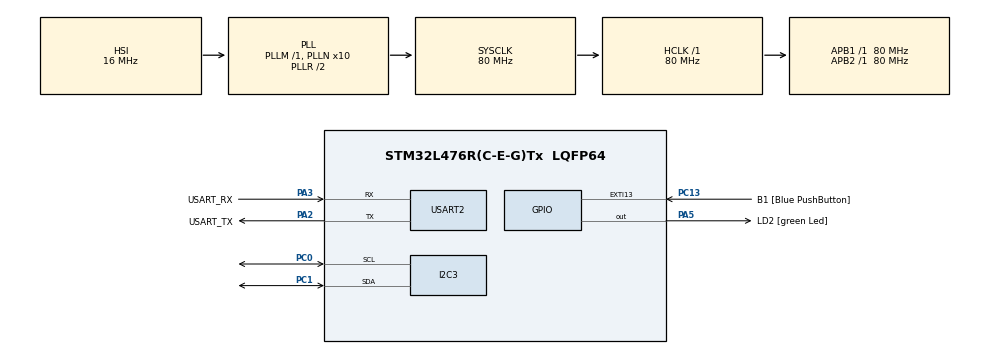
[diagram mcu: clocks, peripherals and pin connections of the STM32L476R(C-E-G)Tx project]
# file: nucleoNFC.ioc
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Mcu.Family=STM32L4
RCC.MSI_VALUE=4000000
RCC.PLLSourceVirtual=RCC_PLLSOURCE_HSI
PA14\ (JTCK-SWCLK).Mode=Serial_Wire
PA2.GPIO_PuPd=GPIO_NOPULL
RCC.CortexFreq_Value=80000000
PH0-OSC_IN\ (PH0).Signal=RCC_OSC_IN
PC13.Signal=GPXTI13
PA3.GPIO_PuPd=GPIO_NOPULL
PA2.GPIO_Speed=GPIO_SPEED_FREQ_VERY_HIGH
PC15-OSC32_OUT\ (PC15).Signal=RCC_OSC32_OUT
PC15-OSC32_OUT\ (PC15).Mode=LSE-External-Oscillator
PA14\ (JTCK-SWCLK).GPIO_Label=TCK
PB3\ (JTDO-TRACESWO).GPIO_Label=SWO
PC13.GPIO_Label=B1 [Blue PushButton]
PC0.Signal=I2C3_SCL
PA3.GPIO_Speed=GPIO_SPEED_FREQ_VERY_HIGH
PH1-OSC_OUT\ (PH1).Signal=RCC_OSC_OUT
RCC.SYSCLKSource=RCC_SYSCLKSOURCE_PLLCLK
ProjectManager.StackSize=0x400
PB3\ (JTDO-TRACESWO).Signal=SYS_JTDO-SWO
PC0.Mode=I2C
PC14-OSC32_IN\ (PC14).Mode=LSE-External-Oscillator
PA14\ (JTCK-SWCLK).Signal=SYS_JTCK-SWCLK
PA3.Mode=Asynchronous
ProjectManager.TargetToolchain=STM32CubeIDE
PA3.GPIO_Mode=GPIO_MODE_AF_PP
RCC.HCLKFreq_Value=80000000
RCC.APB2TimFreq_Value=80000000
RCC.USBFreq_Value=64000000
RCC.AHBFreq_Value=80000000
RCC.PREFETCH_ENABLE=1
PA5.Signal=GPIO_Output
RCC.HSE_VALUE=8000000
board=NUCLEO-L476RG
USART2.VirtualMode-Asynchronous=VM_ASYNC
RCC.VCOOutputFreq_Value=160000000
RCC.APB2Freq_Value=80000000
PA5.GPIO_ModeDefaultOutputPP=GPIO_MODE_OUTPUT_PP
PA13\ (JTMS-SWDIO).GPIO_Label=TMS
PA5.GPIO_PuPd=GPIO_NOPULL
RCC.ADCFreq_Value=64000000
PC13.GPIO_PuPd=GPIO_NOPULL
Mcu.Name=STM32L476R(C-E-G)Tx
PA2.Signal=USART2_TX
PA13\ (JTMS-SWDIO).Mode=Serial_Wire
RCC.SYSCLKFreq_VALUE=80000000
Mcu.Package=LQFP64
PA5.GPIO_Label=LD2 [green Led]
PC13.GPIO_ModeDefaultEXTI=GPIO_MODE_IT_FALLING
PC14-OSC32_IN\ (PC14).Signal=RCC_OSC32_IN
PA2.GPIO_Label=USART_TX
ProjectManager.HeapSize=0x200
RCC.HSI_VALUE=16000000
PA5.GPIO_Speed=GPIO_SPEED_FREQ_LOW
NVIC.PriorityGroup=NVIC_PRIORITYGROUP_4
I2C3.Timing=0x10909CEC
RCC.PLLN=10
RCC.APB1TimFreq_Value=80000000
PA2.Mode=Asynchronous
PA13\ (JTMS-SWDIO).Signal=SYS_JTMS-SWDIO
RCC.APB1Freq_Value=80000000
PC1.Signal=I2C3_SDA
PC1.Mode=I2C
PA3.GPIO_Label=USART_RX
PA3.Signal=USART2_RX
PA2.GPIO_Mode=GPIO_MODE_AF_PP

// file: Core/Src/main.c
/* USER CODE BEGIN Header */
/**
  ******************************************************************************
  * @file           : main.c
  * @brief          : Main program body
  ******************************************************************************
  * @attention
  *
  * <h2><center>&copy; Copyright (c) 2021 STMicroelectronics.
  * All rights reserved.</center></h2>
  *
  * This software component is licensed by ST under BSD 3-Clause license,
  * the "License"; You may not use this file except in compliance with the
  * License. You may obtain a copy of the License at:
  *                        opensource.org/licenses/BSD-3-Clause
  *
  ******************************************************************************
  */
/* USER CODE END Header */
#include "main.h"

/* USER CODE BEGIN Includes */
#include <string.h>
#include <stdio.h>
/* USER CODE END Includes */

I2C_HandleTypeDef hi2c3;

UART_HandleTypeDef huart2;

void SystemClock_Config(void);
static void MX_GPIO_Init(void);
static void MX_USART2_UART_Init(void);
static void MX_I2C3_Init(void);

int main(void)
{
  /* USER CODE BEGIN 1 */
	HAL_StatusTypeDef ret;
  /* USER CODE END 1 */

  /* MCU Configuration--------------------------------------------------------*/

  /* Reset of all peripherals, Initializes the Flash interface and the Systick. */
  HAL_Init();

  /* Configure the system clock */
  SystemClock_Config();

  /* Initialize all configured peripherals */
  MX_GPIO_Init();
  MX_USART2_UART_Init();
  MX_I2C3_Init();
  /* USER CODE BEGIN 2 */
  static const uint16_t REG_DATA = 0x2002;
  uint8_t data;
  int problem = 1;

  data = NFC_ReadFromUserAddress(&ret, hi2c3, REG_DATA);
  printf("data = %x \n", data);
  while(problem){
	  problem = NFC_EnableEH(&ret, hi2c3);
	  printf("trying \n");
  }
  problem = 1;
  while(problem){
  	  problem = NFC_DisableEH(&ret, hi2c3);
  	  printf("trying \n");
    }
  /* USER CODE END 2 */

  /* Infinite loop */
  while (1)
  {
	data = NFC_ReadFromUserAddress(&ret, hi2c3, REG_DATA);
	printf("EH is %x \n", data);
	HAL_Delay(1000);
  }
}

void SystemClock_Config(void)
{
  RCC_OscInitTypeDef RCC_OscInitStruct = {0};
  RCC_ClkInitTypeDef RCC_ClkInitStruct = {0};
  RCC_PeriphCLKInitTypeDef PeriphClkInit = {0};

  /** Initializes the RCC Oscillators according to the specified parameters
  * in the RCC_OscInitTypeDef structure.
  */
  RCC_OscInitStruct.OscillatorType = RCC_OSCILLATORTYPE_HSI;
  RCC_OscInitStruct.HSIState = RCC_HSI_ON;
  RCC_OscInitStruct.HSICalibrationValue = RCC_HSICALIBRATION_DEFAULT;
  RCC_OscInitStruct.PLL.PLLState = RCC_PLL_ON;
  RCC_OscInitStruct.PLL.PLLSource = RCC_PLLSOURCE_HSI;
  RCC_OscInitStruct.PLL.PLLM = 1;
  RCC_OscInitStruct.PLL.PLLN = 10;
  RCC_OscInitStruct.PLL.PLLP = RCC_PLLP_DIV7;
  RCC_OscInitStruct.PLL.PLLQ = RCC_PLLQ_DIV2;
  RCC_OscInitStruct.PLL.PLLR = RCC_PLLR_DIV2;
  if (HAL_RCC_OscConfig(&RCC_OscInitStruct) != HAL_OK)
  {
    Error_Handler();
  }
  /** Initializes the CPU, AHB and APB buses clocks
  */
  RCC_ClkInitStruct.ClockType = RCC_CLOCKTYPE_HCLK|RCC_CLOCKTYPE_SYSCLK
                              |RCC_CLOCKTYPE_PCLK1|RCC_CLOCKTYPE_PCLK2;
  RCC_ClkInitStruct.SYSCLKSource = RCC_SYSCLKSOURCE_PLLCLK;
  RCC_ClkInitStruct.AHBCLKDivider = RCC_SYSCLK_DIV1;
  RCC_ClkInitStruct.APB1CLKDivider = RCC_HCLK_DIV1;
  RCC_ClkInitStruct.APB2CLKDivider = RCC_HCLK_DIV1;

  if (HAL_RCC_ClockConfig(&RCC_ClkInitStruct, FLASH_LATENCY_4) != HAL_OK)
  {
    Error_Handler();
  }
  PeriphClkInit.PeriphClockSelection = RCC_PERIPHCLK_USART2|RCC_PERIPHCLK_I2C3;
  PeriphClkInit.Usart2ClockSelection = RCC_USART2CLKSOURCE_PCLK1;
  PeriphClkInit.I2c3ClockSelection = RCC_I2C3CLKSOURCE_PCLK1;
  if (HAL_RCCEx_PeriphCLKConfig(&PeriphClkInit) != HAL_OK)
  {
    Error_Handler();
  }
  /** Configure the main internal regulator output voltage
  */
  if (HAL_PWREx_ControlVoltageScaling(PWR_REGULATOR_VOLTAGE_SCALE1) != HAL_OK)
  {
    Error_Handler();
  }
}

static void MX_I2C3_Init(void)
{

  hi2c3.Instance = I2C3;
  hi2c3.Init.Timing = 0x10909CEC;
  hi2c3.Init.OwnAddress1 = 0;
  hi2c3.Init.AddressingMode = I2C_ADDRESSINGMODE_7BIT;
  hi2c3.Init.DualAddressMode = I2C_DUALADDRESS_DISABLE;
  hi2c3.Init.OwnAddress2 = 0;
  hi2c3.Init.OwnAddress2Masks = I2C_OA2_NOMASK;
  hi2c3.Init.GeneralCallMode = I2C_GENERALCALL_DISABLE;
  hi2c3.Init.NoStretchMode = I2C_NOSTRETCH_DISABLE;
  if (HAL_I2C_Init(&hi2c3) != HAL_OK)
  {
    Error_Handler();
  }
  /** Configure Analogue filter
  */
  if (HAL_I2CEx_ConfigAnalogFilter(&hi2c3, I2C_ANALOGFILTER_ENABLE) != HAL_OK)
  {
    Error_Handler();
  }
  /** Configure Digital filter
  */
  if (HAL_I2CEx_ConfigDigitalFilter(&hi2c3, 0) != HAL_OK)
  {
    Error_Handler();
  }

}

static void MX_USART2_UART_Init(void)
{

  huart2.Instance = USART2;
  huart2.Init.BaudRate = 115200;
  huart2.Init.WordLength = UART_WORDLENGTH_8B;
  huart2.Init.StopBits = UART_STOPBITS_1;
  huart2.Init.Parity = UART_PARITY_NONE;
  huart2.Init.Mode = UART_MODE_TX_RX;
  huart2.Init.HwFlowCtl = UART_HWCONTROL_NONE;
  huart2.Init.OverSampling = UART_OVERSAMPLING_16;
  huart2.Init.OneBitSampling = UART_ONE_BIT_SAMPLE_DISABLE;
  huart2.AdvancedInit.AdvFeatureInit = UART_ADVFEATURE_NO_INIT;
  if (HAL_UART_Init(&huart2) != HAL_OK)
  {
    Error_Handler();
  }

}

static void MX_GPIO_Init(void)
{
  GPIO_InitTypeDef GPIO_InitStruct = {0};

  /* GPIO Ports Clock Enable */
  __HAL_RCC_GPIOC_CLK_ENABLE();
  __HAL_RCC_GPIOH_CLK_ENABLE();
  __HAL_RCC_GPIOA_CLK_ENABLE();
  __HAL_RCC_GPIOB_CLK_ENABLE();

  /*Configure GPIO pin Output Level */
  HAL_GPIO_WritePin(LD2_GPIO_Port, LD2_Pin, GPIO_PIN_RESET);

  /*Configure GPIO pin : B1_Pin */
  GPIO_InitStruct.Pin = B1_Pin;
  GPIO_InitStruct.Mode = GPIO_MODE_IT_FALLING;
  GPIO_InitStruct.Pull = GPIO_NOPULL;
  HAL_GPIO_Init(B1_GPIO_Port, &GPIO_InitStruct);

  /*Configure GPIO pin : LD2_Pin */
  GPIO_InitStruct.Pin = LD2_Pin;
  GPIO_InitStruct.Mode = GPIO_MODE_OUTPUT_PP;
  GPIO_InitStruct.Pull = GPIO_NOPULL;
  GPIO_InitStruct.Speed = GPIO_SPEED_FREQ_LOW;
  HAL_GPIO_Init(LD2_GPIO_Port, &GPIO_InitStruct);

}

/* USER CODE BEGIN 4 */
int __io_putchar(int ch) {
    ITM_SendChar(ch);
    return ch;
}
/* USER CODE END 4 */

void Error_Handler(void)
{
  __disable_irq();
  while (1)
  {
  }
}

/************************ (C) COPYRIGHT STMicroelectronics *****END OF FILE****/
